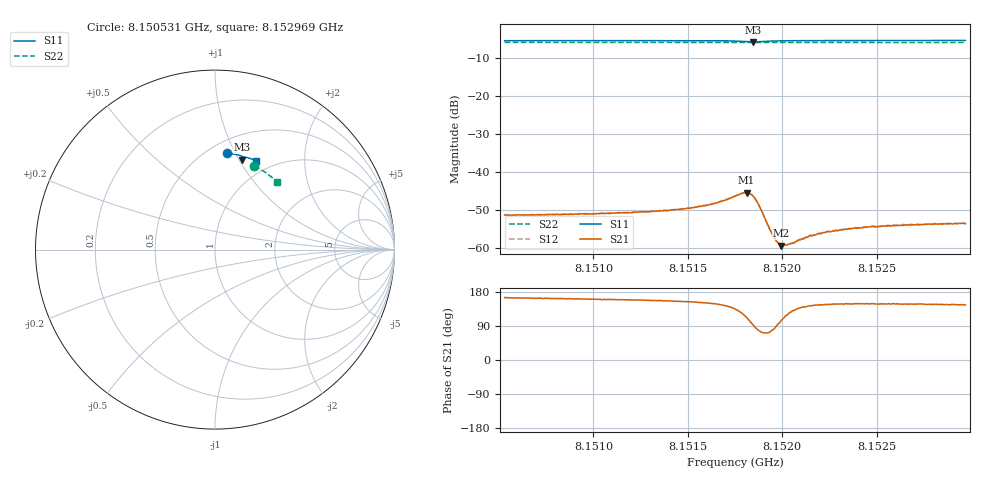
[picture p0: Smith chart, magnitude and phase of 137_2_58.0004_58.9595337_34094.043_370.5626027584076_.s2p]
#  HZ  S  RI  R  50.00
! Rohde & Schwarz Vector Network Analyzer
! Rohde-Schwarz,ZNB20-2Port,1311601062101988,3.16
! Created: UTC 3/21/2024, 12:56:22 AM
! freq[Hz]  re:S11  im:S11  re:S21  im:S21  re:S12  im:S12  re:S22  im:S22
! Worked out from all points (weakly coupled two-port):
!   401 points, 8.150531 GHz to 8.152969 GHz, reference 50 ohm
!   highest |S21| = -45.37 dB at 8.151811 GHz (marker M1); lowest = -59.4 dB at 8.151993 GHz (marker M2)
!   lowest |S11| = -5.6 dB at 8.151847 GHz (marker M3), VSWR 3.19, Z = 37.5 + j51.6 ohm
!   |S11| at or under -10 dB: nowhere
!   |S22| runs from -5.8 to -5.8 dB; largest |S21 - S12| = 0.00013
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8.1505305e9  0.0693 0.5372  -0.00263 0.000717  -0.00264 0.0008  0.2201 0.4655
8.1509389e9  0.0981 0.5333  -0.00267 0.00094  -0.00267 0.000998  0.2435 0.4532
8.1513473e9  0.1273 0.5275  -0.00283 0.00119  -0.00285 0.00127  0.266 0.4396
8.1514571e9  0.1355 0.5255  -0.00292 0.00137  -0.00296 0.00144  0.2719 0.4358
8.1515851e9  0.1456 0.5221  -0.00318 0.00177  -0.00317 0.00181  0.2788 0.4312
8.1516521e9  0.1513 0.5194  -0.00333 0.00209  -0.00331 0.0022  0.2822 0.4287
8.1517496e9  0.1595 0.5116  -0.0034 0.00343  -0.00337 0.00352  0.2876 0.4249
8.1518106e9  0.1587 0.5019  -0.00206 0.00498  -0.00198 0.00502  0.2902 0.4224
8.1518289e9  0.1555 0.5001  -0.00107 0.00508  -0.00102 0.00515  0.2912 0.4218
8.1518472e9  0.1517 0.5004  -0.000118 0.00478  -5.18e-05 0.00482  0.2919 0.4212
8.1518777e9  0.1481 0.505  0.000805 0.0035  0.000859 0.00353  0.2934 0.4203
8.1519264e9  0.1508 0.5123  0.000605 0.00186  0.000599 0.00186  0.296 0.4188
8.1519569e9  0.1544 0.5144  0.000187 0.00136  0.000177 0.00137  0.2977 0.4176
8.1519813e9  0.1571 0.5153  -0.000121 0.00114  -0.000108 0.00115  0.2989 0.4167
8.1519935e9  0.1584 0.5156  -0.000267 0.00104  -0.000256 0.00107  0.2996 0.4163
8.1520118e9  0.1604 0.5157  -0.000427 0.00101  -0.000396 0.00102  0.3007 0.4157
8.1520483e9  0.1641 0.5158  -0.000698 0.000924  -0.000675 0.000934  0.3025 0.4142
8.1521581e9  0.1736 0.5143  -0.00117 0.000859  -0.00115 0.000894  0.3082 0.4099
8.1522982e9  0.1844 0.5115  -0.00144 0.000918  -0.00147 0.000964  0.3153 0.4043
8.1524689e9  0.1964 0.5075  -0.00164 0.00101  -0.00162 0.00107  0.3237 0.3972
8.1525665e9  0.2031 0.5052  -0.00168 0.00102  -0.00166 0.00107  0.3284 0.3931
8.1529688e9  0.2296 0.4945  -0.00172 0.00119  -0.00174 0.00122  0.3474 0.376
